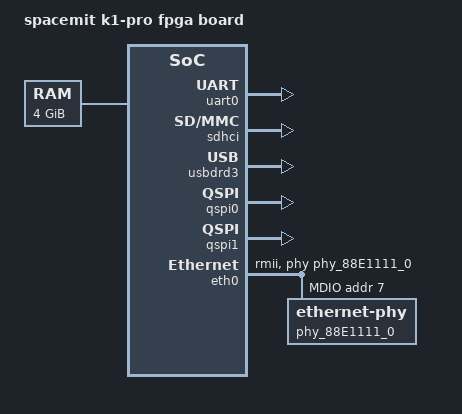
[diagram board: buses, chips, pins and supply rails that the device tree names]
// SPDX-License-Identifier: (GPL-2.0 OR MIT)
/* Copyright (c) 2022 Spacemit, Inc */

/dts-v1/;

#include "k1-pro.dtsi"
#include "spacemit-scmi.dtsi"
#include "k1-pro_pinctrl.dtsi"
/ {
	model = "spacemit k1-pro fpga board";

	cpus: cpus {
		#address-cells = <1>;
		#size-cells = <0>;
		timebase-frequency = <50000000>;

		cpu_2: cpu@2 {
			reg = <2>;
		};

		cpu_3: cpu@3 {
			reg = <3>;
		};

		cpu-map {
			cluster0 {
				core0 {
					cpu = <&cpu_0>;
				};

				core1 {
					cpu = <&cpu_1>;
				};

				core2 {
					cpu = <&cpu_2>;
				};

				core3 {
					cpu = <&cpu_3>;
				};
			};
		};

    	};

	memory@0 {
		device_type = "memory";
		reg = <0xA0 0x00000000 0x1 0x00000000>;
	};

	chosen {
		bootargs = "earlycon=sbi console=ttyS0,115200n8 debug loglevel=8,initcall_debug=1 rdinit=/init.tmp";
		stdout-path = "serial0:115200n8";
	};

	reserved-memory {
		esos_dram: riscv_memreserve {
			reg = <0xA0 0x3F000000 0x0 0x1000000>;
			no-map;
		};
	};
};

&uart0 {
    clock-frequency = <50000000>;
	status = "okay";
};

&emmc {
	status = "disabled";
};

&sdhci {
	no-1-8-v;
	status = "okay";
};

&usbdrd3 {
	status = "okay";
};

&qspi0 {
       pinctrl-names = "default";
       pinctrl-0 = <&pinctrl_qspi0>;
       num-cs = <4>;
       status = "okay";

       flash@0 {
               compatible = "jedec,spi-nor";
               reg = <0>;
               spi-max-frequency = <6250000>;
               m25p,fast-read;
               spi-tx-bus-width = <1>;
               spi-rx-bus-width = <4>;
               broken-flash-reset;
               status = "disabled";
       };
};

&qspi1 {
	num-cs = <4>;
	status = "okay";

	flash@0 {
		compatible = "spi-nand";
		reg = <0>;
		spi-max-frequency = <6250000>;
		spi-tx-bus-width = <4>;
		spi-rx-bus-width = <4>;
		status = "disabled";
	};
};

&eth0 {
       phy-mode = "rmii";
       pinctrl-names = "default";
       pinctrl-0 = <&pinctrl_gmac>;
       rx-clk-delay = <0x00>; /* for RGMII */
       tx-clk-delay = <0x00>; /* for RGMII */
       phy-handle = <&phy_88E1111_0>;
       status = "okay";

       mdio0 {
               #address-cells = <1>;
               #size-cells = <0>;
               compatible = "snps,dwmac-mdio";

               phy_88E1111_0: ethernet-phy@0 {
                       reg = <0x7>;
               };
       };
};

&pcie5 {
      status = "disabled";
};

&esos_rproc {
	memory-region = <&esos_dram>;
};

&vpu {
        status = "disabled";
};

&cpu_0 {
	clocks = <&scmi_dvfs 0>;
};

&cpu_1 {
	clocks = <&scmi_dvfs 0>;
};

&cpu_2 {
	clocks = <&scmi_dvfs 0>;
};

&cpu_3 {
	clocks = <&scmi_dvfs 0>;
};
